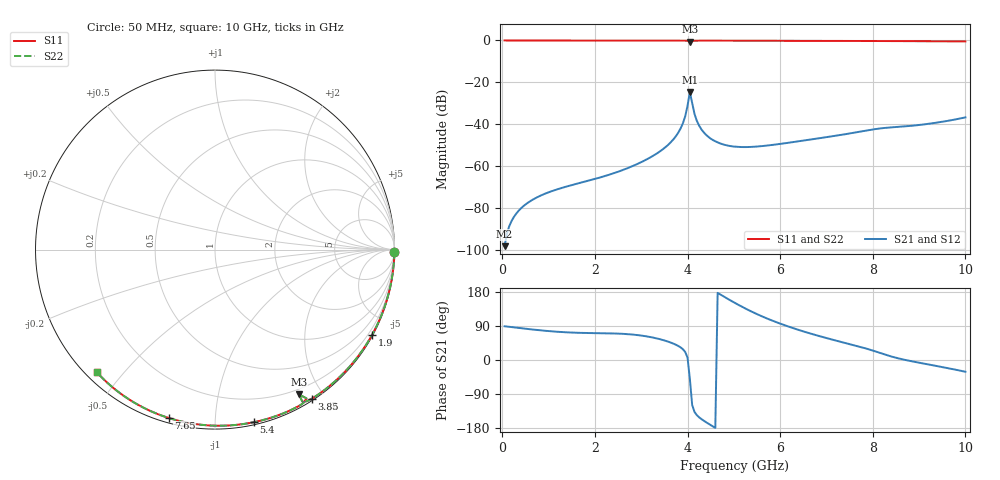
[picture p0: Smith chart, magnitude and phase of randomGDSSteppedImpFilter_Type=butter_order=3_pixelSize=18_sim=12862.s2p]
! freq	dB(S11)	phase(S11)	dB(S12)	phase(S12)
!  dB(S21)	phase(S21)	dB(S22)	phase(S22)
!S-par simulation data
#  GHz  S  DB  R 50
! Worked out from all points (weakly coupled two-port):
!   200 points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, 50 MHz to 10 GHz, reference 50 ohm
!   highest |S21| = -24.66 dB at 4.05 GHz (marker M1); lowest = -98.3 dB at 50 MHz (marker M2)
!   lowest |S11| = -0.6 dB at 4.05 GHz (marker M3), VSWR 28.54, Z = 7 - j86.3 ohm
!   |S11| at or under -10 dB: nowhere
!   |S22| runs from -0.6 to 0.0 dB; largest |S21 - S12| = 0
!   S11 on the Smith chart (normalised r, x): 50 MHz: open; 1.9 GHz: 0.03, -3.92; 3.85 GHz: 0.02, -1.84; 5.4 GHz: 0.02, -1.25; 7.65 GHz: 0.02, -0.76; 10 GHz: 0.03, -0.43
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0.05  -0.00 -0.8  -98.32 89.0  -98.32 89.0  -0.00 -0.8
0.4  -0.01 -6.1  -80.31 84.0  -80.31 84.0  -0.01 -6.1
0.9  -0.02 -13.7  -73.45 77.4  -73.45 77.4  -0.02 -13.7
1.75  -0.03 -26.4  -67.66 71.4  -67.66 71.4  -0.03 -26.4
1.9  -0.04 -28.6  -66.78 71.1  -66.78 71.1  -0.04 -28.7
2.8  -0.05 -41.8  -60.18 67.3  -60.18 67.3  -0.05 -41.8
3.4  -0.07 -50.4  -53.09 55.0  -53.09 55.0  -0.07 -50.4
3.65  -0.07 -54.0  -48.36 45.4  -48.36 45.4  -0.07 -54.0
3.85  -0.09 -57.0  -42.08 33.3  -42.08 33.3  -0.09 -57.1
3.95  -0.11 -58.8  -36.25 21.2  -36.25 21.2  -0.11 -58.9
4  -0.19 -60.1  -31.24 6.1  -31.24 6.1  -0.19 -60.1
4.05  -0.61 -59.9  -24.66 -49.8  -24.66 -49.8  -0.62 -59.9
4.15  -0.13 -59.7  -35.06 -137.0  -35.06 -137.0  -0.13 -59.7
4.2  -0.11 -60.7  -38.37 -145.4  -38.37 -145.4  -0.11 -60.7
4.35  -0.10 -63.1  -43.93 -160.2  -43.93 -160.2  -0.10 -63.1
4.65  -0.10 -67.3  -48.69 177.1  -48.69 177.1  -0.10 -67.3
5.05  -0.11 -72.7  -50.80 148.8  -50.80 148.8  -0.11 -72.7
5.4  -0.12 -77.3  -50.85 126.8  -50.85 126.8  -0.12 -77.3
6.7  -0.18 -93.8  -47.21 68.2  -47.21 68.2  -0.18 -93.9
7.65  -0.24 -105.4  -43.89 37.3  -43.89 37.3  -0.24 -105.5
8.35  -0.29 -113.8  -41.62 11.0  -41.62 11.0  -0.29 -113.9
10  -0.46 -133.8  -36.77 -31.0  -36.77 -31.0  -0.46 -133.9
